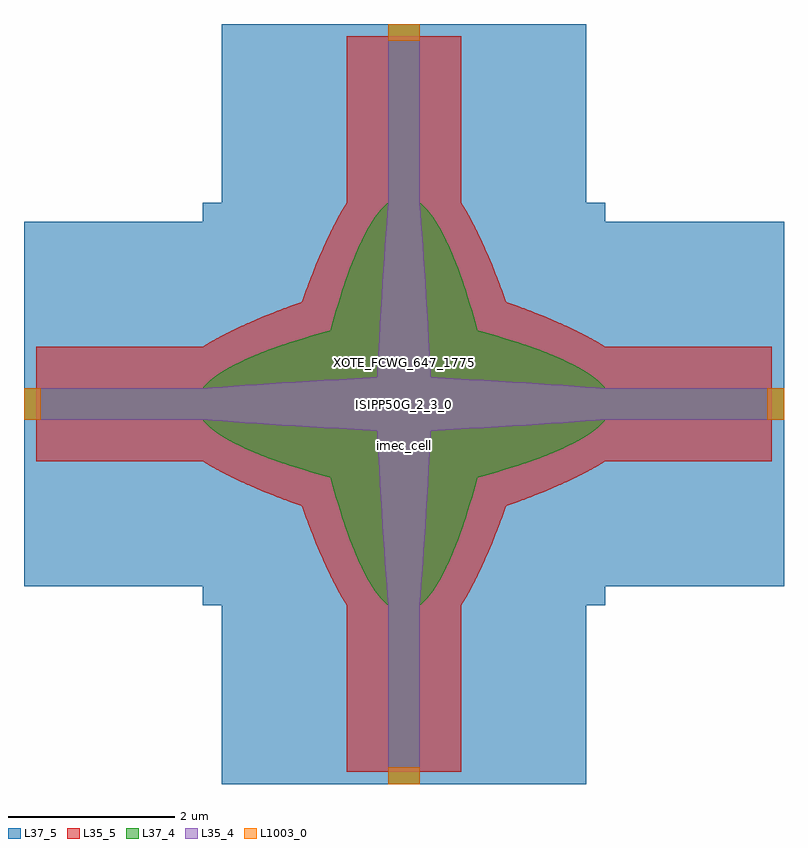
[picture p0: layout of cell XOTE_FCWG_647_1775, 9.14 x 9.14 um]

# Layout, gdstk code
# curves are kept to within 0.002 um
import gdstk
lib = gdstk.Library(unit=1e-6, precision=1e-09)
def R(c, l, rs):  # rectangles x0, y0, x1, y1
    for r in rs: c.add(gdstk.rectangle(r[:2], r[2:], *l))
def P(c, l, *ps):  # polygons
    for p in ps: c.add(gdstk.Polygon(p, *l))
L35_4 = (35, 4)
L35_5 = (35, 5)
L37_4 = (37, 4)
L37_5 = (37, 5)
L1003_0 = (1003, 0)

xote_fcwg_647_1775 = lib.new_cell('XOTE_FCWG_647_1775')
R(xote_fcwg_647_1775, L35_4, [(-0.19,-4.422,0.19,-2.422), (-4.422,-0.19,-2.422,0.19), (2.422,-0.19,4.422,0.19), (-0.19,2.422,0.19,4.422)])
P(xote_fcwg_647_1775, L35_4, [(0,-0.34),(-0.78,-0.3),(-1.463,-0.26),(-1.911,-0.23),(-2.422,-0.19),(-2.422,0.19),(-2.048,0.22),(-1.463,0.26),(-0.78,0.3),(0,0.34)],
  [(0,-0.34),(0,0.34),(0.78,0.3),(1.463,0.26),(1.911,0.23),(2.422,0.19),(2.422,-0.19),(2.048,-0.22),(1.463,-0.26),(0.78,-0.3)],
  [(-0.34,0),(-0.3,0.78),(-0.26,1.463),(-0.23,1.911),(-0.19,2.422),(0.19,2.422),(0.22,2.048),(0.26,1.463),(0.3,0.78),(0.34,0)],
  [(-0.19,-2.422),(-0.22,-2.048),(-0.26,-1.463),(-0.3,-0.78),(-0.34,0),(0.34,0),(0.3,-0.78),(0.26,-1.463),(0.23,-1.911),(0.19,-2.422)])
R(xote_fcwg_647_1775, L35_5, [(-0.69,-4.422,0.69,-2.422), (-4.422,-0.69,-2.422,0.69), (2.422,-0.69,4.422,0.69), (-0.69,2.422,0.69,4.422)])
P(xote_fcwg_647_1775, L35_5, [(0,-1.605),(-0.411,-1.49),(-0.807,-1.37),(-1.198,-1.24),(-1.499,-1.13),(-1.772,-1.02),(-1.909,-0.96),(-2.058,-0.89),(-2.252,-0.79),(-2.422,-0.69),(-2.422,0.69),(-2.252,0.79),(-2.058,0.89),(-1.931,0.95),(-1.772,1.02),(-1.499,1.13),(-1.198,1.24),(-0.807,1.37),(-0.411,1.49),(0,1.605)],
  [(0,-1.605),(0,1.605),(0.411,1.49),(0.807,1.37),(1.198,1.24),(1.499,1.13),(1.772,1.02),(1.909,0.96),(2.058,0.89),(2.252,0.79),(2.422,0.69),(2.422,-0.69),(2.252,-0.79),(2.058,-0.89),(1.931,-0.95),(1.772,-1.02),(1.499,-1.13),(1.198,-1.24),(0.807,-1.37),(0.411,-1.49)],
  [(-1.605,0),(-1.49,0.411),(-1.37,0.807),(-1.24,1.198),(-1.13,1.499),(-1.02,1.772),(-0.96,1.909),(-0.89,2.058),(-0.79,2.252),(-0.69,2.422),(0.69,2.422),(0.79,2.252),(0.89,2.058),(0.95,1.931),(1.02,1.772),(1.13,1.499),(1.24,1.198),(1.37,0.807),(1.49,0.411),(1.605,0)],
  [(-0.69,-2.422),(-0.79,-2.252),(-0.89,-2.058),(-0.95,-1.931),(-1.02,-1.772),(-1.13,-1.499),(-1.24,-1.198),(-1.37,-0.807),(-1.49,-0.411),(-1.605,0),(1.605,0),(1.49,-0.411),(1.37,-0.807),(1.24,-1.198),(1.13,-1.499),(1.02,-1.772),(0.96,-1.909),(0.89,-2.058),(0.79,-2.252),(0.69,-2.422)])
R(xote_fcwg_647_1775, L37_4, [(-0.19,-4.572,0.19,-4.422), (-0.19,-4.422,0.19,-2.422), (-4.572,-0.19,-4.422,0.19), (-4.422,-0.19,2.422,0.19), (2.422,-0.19,4.422,0.19), (4.422,-0.19,4.572,0.19), (-0.19,2.422,0.19,4.422), (-0.19,4.422,0.19,4.572)])
P(xote_fcwg_647_1775, L37_4, [(0,-1.105),(-0.411,-1.01),(-0.69,-0.94),(-0.949,-0.87),(-1.188,-0.8),(-1.466,-0.71),(-1.685,-0.63),(-1.878,-0.55),(-2.064,-0.46),(-2.153,-0.41),(-2.274,-0.33),(-2.369,-0.25),(-2.422,-0.19),(-2.422,0.19),(-2.369,0.25),(-2.3,0.31),(-2.246,0.35),(-2.136,0.42),(-2.045,0.47),(-1.922,0.53),(-1.785,0.59),(-1.633,0.65),(-1.466,0.71),(-1.284,0.77),(-0.949,0.87),(-0.493,0.99),(0,1.105)],
  [(0,-1.105),(0,1.105),(0.493,0.99),(0.949,0.87),(1.284,0.77),(1.466,0.71),(1.633,0.65),(1.785,0.59),(1.922,0.53),(2.045,0.47),(2.136,0.42),(2.246,0.35),(2.3,0.31),(2.369,0.25),(2.422,0.19),(2.422,-0.19),(2.369,-0.25),(2.274,-0.33),(2.153,-0.41),(2.064,-0.46),(1.922,-0.53),(1.736,-0.61),(1.495,-0.7),(1.284,-0.77),(1.054,-0.84),(0.69,-0.94),(0.411,-1.01)],
  [(-1.105,0),(-1.01,0.411),(-0.94,0.69),(-0.87,0.949),(-0.8,1.188),(-0.71,1.466),(-0.63,1.685),(-0.55,1.878),(-0.46,2.064),(-0.41,2.153),(-0.33,2.274),(-0.25,2.369),(-0.19,2.422),(0.19,2.422),(0.25,2.369),(0.31,2.3),(0.35,2.246),(0.42,2.136),(0.47,2.045),(0.53,1.922),(0.59,1.785),(0.65,1.633),(0.71,1.466),(0.77,1.284),(0.87,0.949),(0.99,0.493),(1.105,0)],
  [(-0.19,-2.422),(-0.25,-2.369),(-0.31,-2.3),(-0.35,-2.246),(-0.42,-2.136),(-0.47,-2.045),(-0.53,-1.922),(-0.59,-1.785),(-0.65,-1.633),(-0.71,-1.466),(-0.77,-1.284),(-0.87,-0.949),(-0.99,-0.493),(-1.105,0),(1.105,0),(1.01,-0.411),(0.94,-0.69),(0.87,-0.949),(0.8,-1.188),(0.71,-1.466),(0.63,-1.685),(0.55,-1.878),(0.46,-2.064),(0.41,-2.153),(0.33,-2.274),(0.25,-2.369),(0.19,-2.422)])
R(xote_fcwg_647_1775, L37_5, [(-2.19,-4.572,2.19,-4.422), (-2.19,-4.422,2.19,4.422), (-2.422,-2.422,2.422,2.422), (-4.572,-2.19,-4.422,2.19), (-4.422,-2.19,4.422,2.19), (4.422,-2.19,4.572,2.19), (-2.19,4.422,2.19,4.572)])
R(xote_fcwg_647_1775, L1003_0, [(-0.19,-4.572,0.19,-4.422), (-0.19,-4.422,0.19,-4.372), (-4.572,-0.19,-4.422,0.19), (-4.422,-0.19,-4.372,0.19), (4.372,-0.19,4.422,0.19), (4.422,-0.19,4.572,0.19), (-0.19,4.372,0.19,4.422), (-0.19,4.422,0.19,4.572)])
xote_fcwg_647_1775.add(gdstk.Label('XOTE_FCWG_647_1775', (0,0.5), layer=1002, texttype=0))
xote_fcwg_647_1775.add(gdstk.Label('ISIPP50G_2_3_0', (0,0), layer=1002, texttype=0))
xote_fcwg_647_1775.add(gdstk.Label('imec_cell', (0,-0.5), layer=1002, texttype=0))

lib.write_gds('XOTE_FCWG_647_1775.gds')
